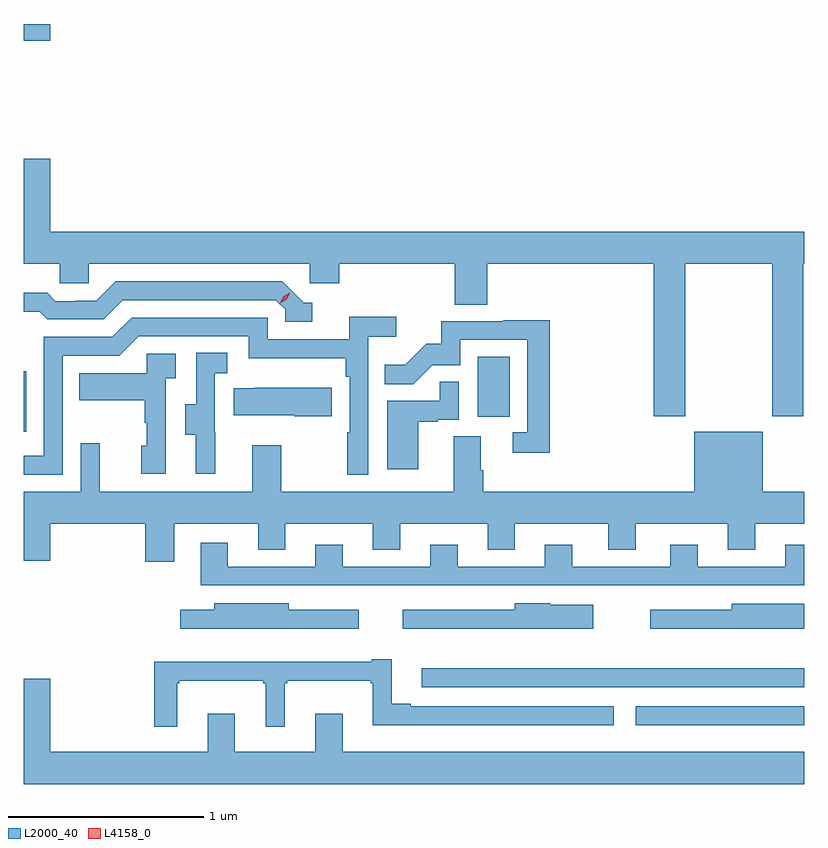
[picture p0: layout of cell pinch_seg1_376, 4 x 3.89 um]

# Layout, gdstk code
import gdstk
lib = gdstk.Library(unit=1e-6, precision=1e-09)
def R(c, l, rs):  # rectangles x0, y0, x1, y1
    for r in rs: c.add(gdstk.rectangle(r[:2], r[2:], *l))
def P(c, l, *ps):  # polygons
    for p in ps: c.add(gdstk.Polygon(p, *l))
L2000_40 = (2000, 40)
L4158_0 = (4158, 0)

pinch_seg1_376 = lib.new_cell('pinch_seg1_376')
R(pinch_seg1_376, L2000_40, [(983.355,530.72,984.218,530.817), (982.257,530.916,984.218,531.014), (980.218,532.224,980.232,532.534), (982.544,532.302,982.708,532.609), (980.218,534.228,980.356,534.313)])
P(pinch_seg1_376, L2000_40, [(983.607,533.084),(984.052,533.084),(984.052,532.305),(984.212,532.305),(984.212,533.084),(984.218,533.084),(984.218,533.248),(980.356,533.248),(980.356,533.623),(980.218,533.623),(980.218,533.084),(980.403,533.084),(980.403,532.986),(980.553,532.986),(980.553,533.084),(981.684,533.084),(981.684,532.986),(981.836,532.986),(981.836,533.084),(982.427,533.084),(982.427,532.876),(982.592,532.876),(982.592,533.084),(983.447,533.084),(983.447,532.305),(983.607,532.305)],
  [(981.697,532.884),(981.654,532.884),(981.543,532.995),(980.69,532.995),(980.591,532.896),(980.484,532.896),(980.484,532.893),(980.381,532.893),(980.339,532.936),(980.218,532.936),(980.218,532.839),(980.3,532.839),(980.339,532.8),(980.628,532.8),(980.727,532.899),(981.51,532.899),(981.558,532.851),(981.558,532.788),(981.697,532.788)],
  [(980.418,532.614),(980.709,532.614),(980.808,532.713),(981.372,532.713),(981.372,532.601),(981.868,532.601),(981.868,532.505),(981.888,532.505),(981.888,532.223),(981.876,532.223),(981.876,532.005),(981.984,532.005),(981.984,532.712),(982.126,532.712),(982.126,532.814),(981.887,532.814),(981.887,532.698),(981.468,532.698),(981.468,532.809),(980.771,532.809),(980.672,532.71),(980.322,532.71),(980.322,532.101),(980.218,532.101),(980.218,532.005),(980.418,532.005)],
  [(982.913,532.796),(982.675,532.796),(982.675,532.791),(982.357,532.791),(982.357,532.674),(982.28,532.674),(982.173,532.567),(982.069,532.567),(982.069,532.468),(982.213,532.468),(982.311,532.566),(982.455,532.566),(982.455,532.695),(982.797,532.695),(982.797,532.221),(982.725,532.221),(982.725,532.116),(982.913,532.116)],
  [(981.2,532.221),(981.198,532.221),(981.198,532.525),(981.262,532.525),(981.262,532.628),(981.102,532.628),(981.102,532.365),(981.047,532.365),(981.047,532.21),(981.101,532.21),(981.101,532.008),(981.2,532.008)],
  [(980.946,532.499),(980.998,532.499),(980.998,532.623),(980.85,532.623),(980.85,532.525),(980.503,532.525),(980.503,532.385),(980.838,532.385),(980.838,532.271),(980.848,532.271),(980.848,532.152),(980.822,532.152),(980.822,532.008),(980.946,532.008)],
  [(982.24,532.275),(982.34,532.275),(982.34,532.287),(982.446,532.287),(982.446,532.481),(982.351,532.481),(982.351,532.383),(982.082,532.383),(982.082,532.032),(982.24,532.032)],
  [(981.796,532.45),(981.403,532.45),(981.403,532.447),(981.295,532.447),(981.295,532.31),(981.605,532.31),(981.605,532.303),(981.796,532.303)],
  [(980.989,531.752),(981.419,531.752),(981.419,531.619),(981.559,531.619),(981.559,531.752),(982.007,531.752),(982.007,531.619),(982.147,531.619),(982.147,531.752),(982.595,531.752),(982.595,531.619),(982.735,531.619),(982.735,531.752),(983.213,531.752),(983.213,531.619),(983.353,531.619),(983.353,531.752),(983.825,531.752),(983.825,531.619),(983.965,531.619),(983.965,531.752),(984.218,531.752),(984.218,531.916),(984.004,531.916),(984.004,532.225),(983.654,532.225),(983.654,531.916),(982.574,531.916),(982.574,532.028),(982.561,532.028),(982.561,532.202),(982.421,532.202),(982.421,531.916),(981.537,531.916),(981.537,532.156),(981.389,532.156),(981.389,531.916),(980.609,531.916),(980.609,532.165),(980.511,532.165),(980.511,531.916),(980.218,531.916),(980.218,531.564),(980.356,531.564),(980.356,531.752),(980.842,531.752),(980.842,531.558),(980.989,531.558)],
  [(984.218,531.646),(984.119,531.646),(984.119,531.534),(983.671,531.534),(983.671,531.646),(983.531,531.646),(983.531,531.534),(983.029,531.534),(983.029,531.646),(982.889,531.646),(982.889,531.534),(982.441,531.534),(982.441,531.646),(982.301,531.646),(982.301,531.534),(981.853,531.534),(981.853,531.646),(981.713,531.646),(981.713,531.534),(981.265,531.534),(981.265,531.655),(981.125,531.655),(981.125,531.438),(984.218,531.438)],
  [(983.137,531.337),(982.917,531.337),(982.917,531.346),(982.733,531.346),(982.733,531.312),(982.161,531.312),(982.161,531.215),(983.137,531.215)],
  [(981.934,531.312),(981.577,531.312),(981.577,531.346),(981.194,531.346),(981.194,531.312),(981.021,531.312),(981.021,531.215),(981.934,531.215)],
  [(984.218,531.343),(983.846,531.343),(983.846,531.312),(983.427,531.312),(983.427,531.215),(984.218,531.215)],
  [(981.004,530.937),(981.016,530.937),(981.016,530.948),(981.447,530.948),(981.447,530.937),(981.458,530.937),(981.458,530.712),(981.556,530.712),(981.556,530.937),(981.568,530.937),(981.568,530.948),(981.996,530.948),(981.996,530.937),(982.007,530.937),(982.007,530.72),(983.242,530.72),(983.242,530.817),(982.201,530.817),(982.201,530.83),(982.105,530.83),(982.105,531.058),(982.001,531.058),(982.001,531.046),(980.887,531.046),(980.887,530.712),(981.004,530.712)],
  [(984.218,530.584),(981.853,530.584),(981.853,530.779),(981.713,530.779),(981.713,530.584),(981.301,530.584),(981.301,530.779),(981.161,530.779),(981.161,530.584),(980.356,530.584),(980.356,530.959),(980.218,530.959),(980.218,530.42),(984.218,530.42)])
P(pinch_seg1_376, L4158_0, [(981.534,532.885),(981.534,532.885),(981.551,532.918),(981.581,532.937),(981.582,532.937),(981.582,532.936),(981.565,532.904),(981.535,532.885)])

lib.write_gds('pinch_seg1_376.gds')
